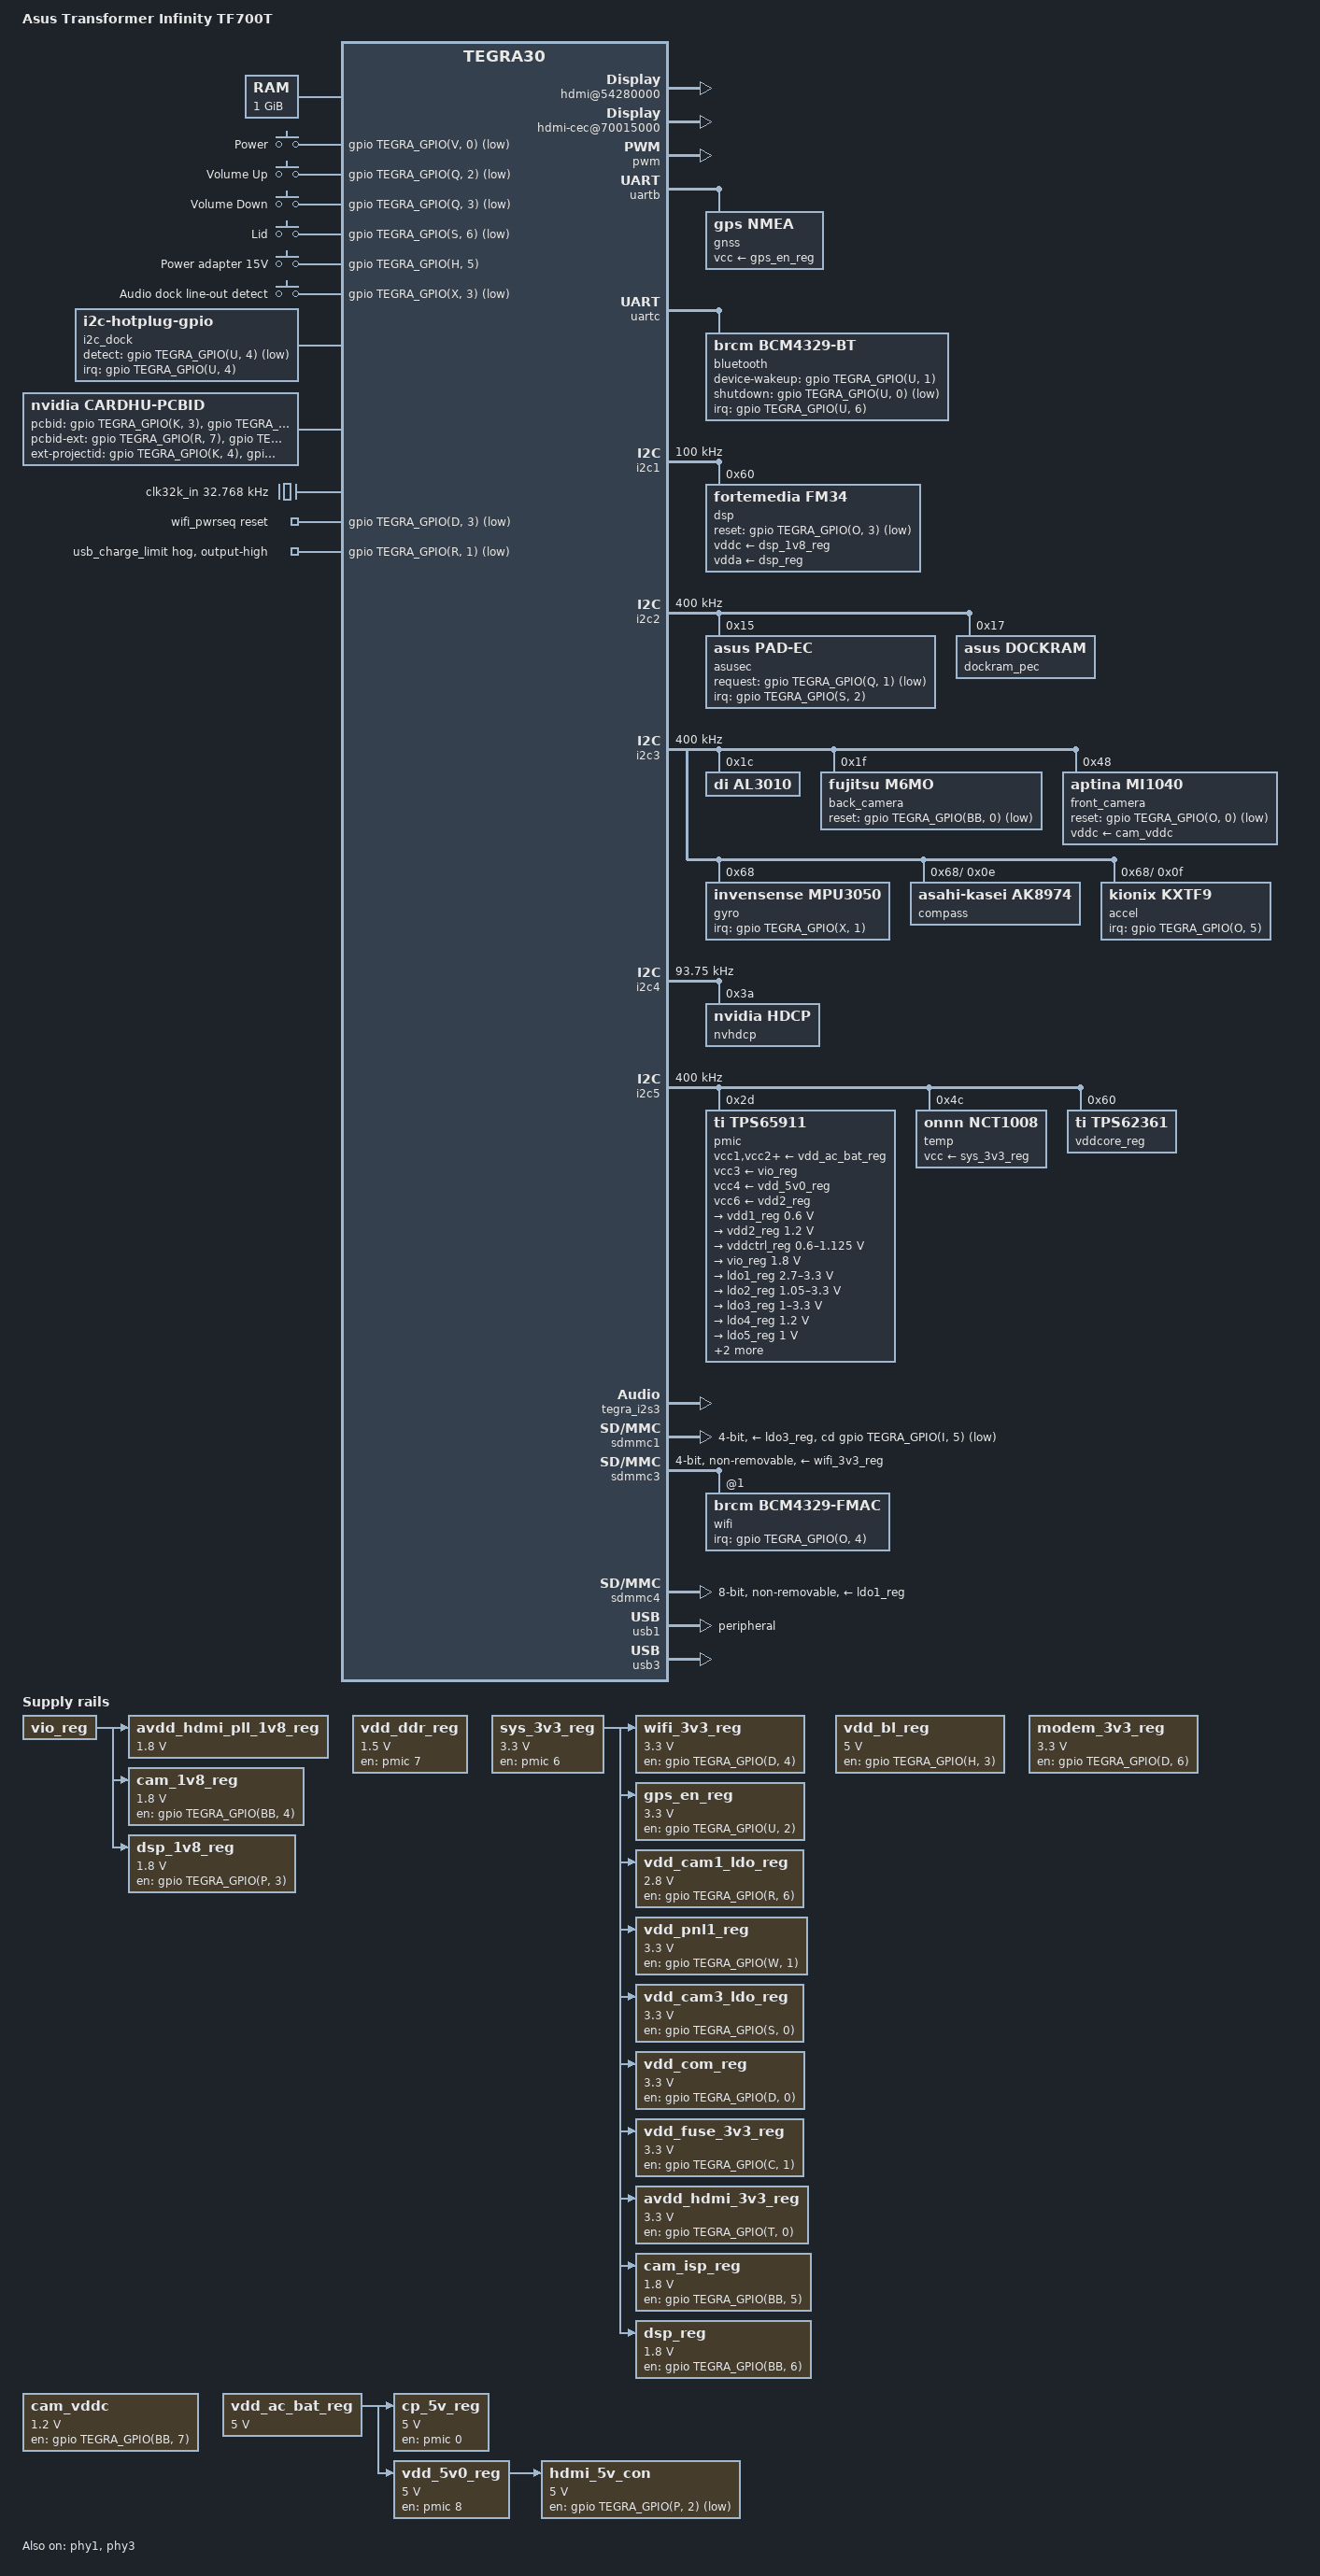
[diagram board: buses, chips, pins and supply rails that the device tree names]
/dts-v1/;

#include <dt-bindings/input/input.h>
#include <dt-bindings/thermal/thermal.h>
#include "tegra30.dtsi"
#include "tegra30-cpu-opp.dtsi"
#include "tegra30-cpu-opp-microvolt.dtsi"

/ {
	model = "Asus Transformer Infinity TF700T";
	compatible = "asus,tf700t", "nvidia,tegra30";

	aliases {
		rtc0 = &pmic;
		rtc1 = "/rtc@7000e000";
		//display0 = &lcd;
		display1 = &hdmi;
		serial0 = &uartd; /* reserved: console */
		serial1 = &uartc;
		serial2 = &uartb;
		mmc0 = &sdmmc4;	/* eMMC */
		mmc1 = &sdmmc1; /* uSD slot */
		mmc2 = &sdmmc3; /* WiFi */
	};

	chosen {
		#address-cells = <1>;
		#size-cells = <1>;
		ranges;

		bootargs = "tegra_wdt.heartbeat=30 androidboot.selinux=permissive androidboot.hardware=cardhu tegraid=30.1.3.0.0 commchip_id=0 androidboot.serialno=015d15b4da27f206 androidboot.commchip_id=0 no_console_suspend=1 usbcore.old_scheme_first=1 core_edp_mv=0 audio_codec=wm8903 board_info=245:0:1c:a7:29 tegraboot=sdmmc gpt gpt_sector=62078975 modem_id=0 android.kerneltype=normal androidboot.productid=0x02 androidboot.carrier=wifi-only";
		stdout-path = "display0";

		/*framebuffer@abc01000 {
			compatible = "simple-framebuffer";
			reg = <0xabc01000 0x3e8a00>;
			width = <1920>;
			height = <1200>;
			stride = <2560>;
			format = "r5g6b5";
			display = <&lcd>;
			clocks = <&tegra_car TEGRA30_CLK_DISP1>,
				 <&tegra_car TEGRA30_CLK_PWM>;
			panel-supply = <&vdd_pnl1_reg>;
			backlight-supply = <&vdd_bl_reg>;
		};*/
	};

	memory@80000000 {
		reg = <0x80000000 0x40000000>;
	};

	firmware {
		trusted-foundations {
			compatible = "tlm,trusted-foundations";
			tlm,version-major = <2>;
			tlm,version-minor = <8>;
		};
	};

	reserved-memory {
		#address-cells = <1>;
		#size-cells = <1>;
		ranges;

		firmware@bfe00000 {
			// used by TF firmware
			reg = <0xbfe00000 0x200000>;
			no-map;
		};

		ramoops@beb00000 {
			compatible = "ramoops";
			reg = <0xbeb00000 0x100000>;
			record-size = <0x00020000>;
			console-size = <0x00040000>;
			ftrace-size = <0x00040000>;
			ecc-size = <16>;
		};

		lp0_vec@bddf9000 {
			reg = <0xbddf9000 0x2000>;	// passed from bootloader (ATAGS/NVIDIA, cmdline)
		};
/*
		reserved@bddf6000 {
			reg = <0xbddf6000 0x2000>;	// passed from bootloader (ATAGS/NVIDIA)
		};
*/
		framebuffer@abc01000 {
			reg = <0xabc01000 0x3e9000>;
			no-map;
		};
	};

	power-domain-core {
		power-supply = <&vddcore_reg>;
	};

	cpus {
		cpu0: cpu@0 {
			cpu-supply = <&vddctrl_reg>;
			operating-points-v2 = <&cpu0_opp_table>;
			#cooling-cells = <2>;
		};
		cpu1: cpu@1 {
			cpu-supply = <&vddctrl_reg>;
			operating-points-v2 = <&cpu0_opp_table>;
			#cooling-cells = <2>;
		};
		cpu2: cpu@2 {
			cpu-supply = <&vddctrl_reg>;
			operating-points-v2 = <&cpu0_opp_table>;
			#cooling-cells = <2>;
		};
		cpu3: cpu@3 {
			cpu-supply = <&vddctrl_reg>;
			operating-points-v2 = <&cpu0_opp_table>;
			#cooling-cells = <2>;
		};
	};

	thermal-zones {
		local {
			polling-delay-passive = <1000>; /* milliseconds */
			polling-delay = <5000>; /* milliseconds */

			thermal-sensors = <&temp 0>;

			trips {
				trip0: cpu-alert0 {
					/* start throttling at 57C */
					temperature = <57000>;
					hysteresis = <200>;
					type = "passive";
				};

				trip1: cpu-crit {
					/* shut down at 60C */
					temperature = <60000>;
					hysteresis = <2000>;
					type = "critical";
				};
			};

			cooling-maps {
				map0 {
					trip = <&trip0>;
					cooling-device = <&cpu0 THERMAL_NO_LIMIT THERMAL_NO_LIMIT>,
							 <&cpu1 THERMAL_NO_LIMIT THERMAL_NO_LIMIT>,
							 <&cpu2 THERMAL_NO_LIMIT THERMAL_NO_LIMIT>,
							 <&cpu3 THERMAL_NO_LIMIT THERMAL_NO_LIMIT>;
				};
			};
		};
	};

	/*panel: panel {
		compatible = "innolux,n101icg-l21", "innolux,g101ice-l01", "simple-panel";

		power-supply = <&vdd_pnl1_reg>;
		enable-gpios = <&gpio TEGRA_GPIO(N, 6) GPIO_ACTIVE_HIGH>;

		backlight = <&backlight>;
	};

	backlight: backlight {
		compatible = "pwm-backlight";

		enable-gpios = <&gpio TEGRA_GPIO(H, 2) GPIO_ACTIVE_HIGH>;
		power-supply = <&vdd_bl_reg>;
		pwms = <&pwm 0 5000000>;

		brightness-levels = <2 4 8 16 32 64 128 255>;
		default-brightness-level = <6>;
	};

	sound {
		compatible = "asus,tf300t-audio",
			     "nvidia,tegra-audio-wm8903";
		nvidia,model = "ASUS TF300T";

		nvidia,audio-routing =
			"Headphone Jack", "HPOUTR",
			"Headphone Jack", "HPOUTL",
			"Int Spk", "ROP",
			"Int Spk", "RON",
			"Int Spk", "LOP",
			"Int Spk", "LON",
			"Mic Jack", "MICBIAS",
			"IN1L", "Mic Jack";

		nvidia,i2s-controller = <&tegra_i2s1>;
		nvidia,audio-codec = <&wm8903>;

		// speaker power: vdd_5v0_reg
		nvidia,spkr-en-gpios = <&wm8903 2 GPIO_ACTIVE_HIGH>;
		nvidia,hp-det-gpios = <&gpio TEGRA_GPIO(W, 2) GPIO_ACTIVE_LOW>;	// h2w_detect, in, hi

		clocks = <&tegra_car TEGRA30_CLK_PLL_A>,
			 <&tegra_car TEGRA30_CLK_PLL_A_OUT0>,
			 <&tegra_car TEGRA30_CLK_EXTERN1>;
		clock-names = "pll_a", "pll_a_out0", "mclk";
	};*/

	pad-buttons {
		compatible = "gpio-keys";
		interrupt-parent = <&gpio>;

		power {
			label = "Power";
			gpios = <&gpio TEGRA_GPIO(V, 0) GPIO_ACTIVE_LOW>;	// KEY_POWER, in, hi
			interrupts = <TEGRA_GPIO(V, 0) IRQ_TYPE_EDGE_BOTH>;
			linux,code = <KEY_POWER>;
			debounce-interval = <10>;
			wakeup-source;
		};

		volume-up {
			label = "Volume Up";
			gpios = <&gpio TEGRA_GPIO(Q, 2) GPIO_ACTIVE_LOW>;	// KEY_VOLUMEUP, in, hi
			interrupts = <TEGRA_GPIO(Q, 2) IRQ_TYPE_EDGE_BOTH>;
			linux,code = <KEY_VOLUMEUP>;
			debounce-interval = <10>;
			wakeup-source;
		};

		volume-down {
			label = "Volume Down";
			gpios = <&gpio TEGRA_GPIO(Q, 3) GPIO_ACTIVE_LOW>;	// KEY_VOLUMEDOWN, in, hi
			interrupts = <TEGRA_GPIO(Q, 3) IRQ_TYPE_EDGE_BOTH>;
			linux,code = <KEY_VOLUMEDOWN>;
			debounce-interval = <10>;
			wakeup-source;
		};
	};

	extcon-keys {
		compatible = "gpio-keys";
		interrupt-parent = <&gpio>;

		dock-hall-sensor {
			label = "Lid";
			gpios = <&gpio TEGRA_GPIO(S, 6) GPIO_ACTIVE_LOW>;	// asusdec_hall_sensor, in, hi [open]
			interrupts = <TEGRA_GPIO(S, 6) IRQ_TYPE_EDGE_BOTH>;
			linux,input-type = <EV_SW>;
			linux,code = <SW_LID>;
			debounce-interval = <10>;
			wakeup-source;
		};

		ac-15v {
			label = "Power adapter 15V";
			gpios = <&gpio TEGRA_GPIO(H, 5) GPIO_ACTIVE_HIGH>;	// LIMIT_SET1, in, lo [usb: pc]
			interrupts = <TEGRA_GPIO(H, 5) IRQ_TYPE_EDGE_BOTH>;
			linux,input-type = <EV_SW>;
			linux,code = <SW_DOCK>;
			debounce-interval = <10>;
			wakeup-source;
		};

		lineout-detect {
			label = "Audio dock line-out detect";
			gpios = <&gpio TEGRA_GPIO(X, 3) GPIO_ACTIVE_LOW>;	// lineout_int, in, hi
			interrupts = <TEGRA_GPIO(X, 3) IRQ_TYPE_EDGE_BOTH>;
			linux,input-type = <EV_SW>;
			linux,code = <SW_LINEOUT_INSERT>;
			debounce-interval = <10>;
			wakeup-source;
		};
	};

	i2c_dock: dock-i2c {
		compatible = "i2c-hotplug-gpio";
		#address-cells = <1>;
		#size-cells = <0>;
		interrupts-extended = <&gpio TEGRA_GPIO(U, 4) IRQ_TYPE_EDGE_BOTH>;
		detect-gpios = <&gpio TEGRA_GPIO(U, 4) GPIO_ACTIVE_LOW>;		// asusdec_dock_in, in, lo [in-dock]
		i2c-parent = <&i2c2>;
	};

        cardhu-pcbid {
		compatible = "nvidia,cardhu-pcbid";
		pcbid-gpios =
			<&gpio TEGRA_GPIO(K, 3) GPIO_ACTIVE_HIGH>,
			<&gpio TEGRA_GPIO(J, 2) GPIO_ACTIVE_HIGH>,
			<&gpio TEGRA_GPIO(J, 0) GPIO_ACTIVE_HIGH>,
			<&gpio TEGRA_GPIO(Q, 5) GPIO_ACTIVE_HIGH>,
			<&gpio TEGRA_GPIO(R, 2) GPIO_ACTIVE_HIGH>,
			<&gpio TEGRA_GPIO(Q, 7) GPIO_ACTIVE_HIGH>,
			<&gpio TEGRA_GPIO(Q, 4) GPIO_ACTIVE_HIGH>,
			<&gpio TEGRA_GPIO(R, 5) GPIO_ACTIVE_HIGH>,
			<&gpio TEGRA_GPIO(R, 4) GPIO_ACTIVE_HIGH>;
		pcbid-ext-gpios = // used only if pcbid[5:3] == 6
			<&gpio TEGRA_GPIO(R, 7) GPIO_ACTIVE_HIGH>,
			<&gpio TEGRA_GPIO(B, 0) GPIO_ACTIVE_HIGH>,
			<&gpio TEGRA_GPIO(J, 7) GPIO_ACTIVE_HIGH>,
			<&gpio TEGRA_GPIO(C, 7) GPIO_ACTIVE_HIGH>;
		ext-projectid-gpios = // used only if pcbid[5:3] == 6
			<&gpio TEGRA_GPIO(K, 4) GPIO_ACTIVE_HIGH>,
			<&gpio TEGRA_GPIO(I, 7) GPIO_ACTIVE_HIGH>,
			<&gpio TEGRA_GPIO(I, 3) GPIO_ACTIVE_HIGH>,
			<&gpio TEGRA_GPIO(K, 2) GPIO_ACTIVE_HIGH>;
	};

	clocks {
		compatible = "simple-bus";
		#address-cells = <1>;
		#size-cells = <0>;

		clk32k_in: clock@0 {
			compatible = "fixed-clock";
			reg = <0>;
			#clock-cells = <0>;
			clock-frequency = <32768>;
		};

		// TODO: clk_out2 <- clk_m [26 MHz]
	};

	host1x@50000000 {
		/*lcd: dc@54200000 {
			rgb {
				status = "okay";
				nvidia,panel = <&panel>;
			};
		};*/

		hdmi: dc@54240000 {
		};

		hdmi@54280000 {
			status = "okay";
			hdmi-supply = <&hdmi_5v_con>;
			pll-supply = <&avdd_hdmi_pll_1v8_reg>;
			vdd-supply = <&avdd_hdmi_3v3_reg>;

			nvidia,hpd-gpio = <&gpio TEGRA_GPIO(N, 7) GPIO_ACTIVE_HIGH>;	// hdmi_hpd, in, lo
			nvidia,ddc-i2c-bus = <&hdmi_ddc>;
		};
	};

	pmc@7000e400 {
		status = "okay";
		nvidia,invert-interrupt;
		nvidia,suspend-mode = <0>;
		nvidia,cpu-pwr-good-time = <2000>;
		nvidia,cpu-pwr-off-time = <200>;
		nvidia,core-pwr-good-time = <3845 3845>;
		nvidia,core-pwr-off-time = <0>;
		nvidia,core-power-req-active-high;
		nvidia,sys-clock-req-active-high;
		nvidia,lp0-vec = <0xbddf9000 0x2000>;	// passed by bootloader

		i2c-thermtrip {
			nvidia,i2c-controller-id = <4>;	// i2c5
			nvidia,bus-addr = <0x2d>;	// tps65911
			nvidia,reg-addr = <0x3f>;	// DEVCTRL
			nvidia,reg-data = <0x81>;	// PWR_OFF_SET + DEV_OFF
		};
	};

	hdmi-cec@70015000 {
		status = "okay";
	};

	hda@70030000 {
		status = "okay";
	};

	regulators {
		compatible = "simple-bus";
		#address-cells = <1>;
		#size-cells = <0>;

		cp_5v_reg: regulator@0 {	// -> vdd_5v0_sby, vdd_hall, vterm_ddr, v2ref_ddr
			compatible = "regulator-fixed";
			reg = <0>;
			regulator-name = "cp_5v";
			regulator-min-microvolt = <5000000>;
			regulator-max-microvolt = <5000000>;
			regulator-always-on;
			regulator-boot-on;
			enable-active-high;
			gpio = <&pmic 0 GPIO_ACTIVE_HIGH>;
			vin-supply = <&vdd_ac_bat_reg>;
		};

		vdd_5v0_reg: regulator@1 {	// -> vdd_5v0_sys
			compatible = "regulator-fixed";
			reg = <1>;
			regulator-name = "5v0";
			regulator-min-microvolt = <5000000>;
			regulator-max-microvolt = <5000000>;
			regulator-always-on;
			regulator-boot-on;
			enable-active-high;
			gpio = <&pmic 8 GPIO_ACTIVE_HIGH>;	// Cardhu-A04+; PM269
			vin-supply = <&vdd_ac_bat_reg>;
		};

		wifi_3v3_reg: regulator@21 {
			compatible = "regulator-fixed";
			reg = <21>;
			regulator-name = "wifi_3v3";
			regulator-min-microvolt = <3300000>;
			regulator-max-microvolt = <3300000>;
			enable-active-high;
			gpio = <&gpio TEGRA_GPIO(D, 4) GPIO_ACTIVE_HIGH>;	// wlan_power, out, lo [wifi-off]
			vin-supply = <&sys_3v3_reg>;
		};

		gps_en_reg: regulator@23 {
			compatible = "regulator-fixed";
			reg = <23>;
			regulator-name = "gps_en";
			regulator-min-microvolt = <3300000>;
			regulator-max-microvolt = <3300000>;
			enable-active-high;
			gpio = <&gpio TEGRA_GPIO(U, 2) GPIO_ACTIVE_HIGH>;	// gpsconfig.xml: gpioNStdby
			vin-supply = <&sys_3v3_reg>;
		};

		vdd_cam1_ldo_reg: regulator@18 {
			compatible = "regulator-fixed";
			reg = <18>;
			regulator-name = "vdd_cam1_ldo";
			regulator-min-microvolt = <2800000>;
			regulator-max-microvolt = <2800000>;
			enable-active-high;
			gpio = <&gpio TEGRA_GPIO(R, 6) GPIO_ACTIVE_HIGH>;	// fixed_reg_cam1_ldo_e, out, lo
			vin-supply = <&sys_3v3_reg>;
		};

		vdd_ddr_reg: regulator@2 {
			compatible = "regulator-fixed";
			reg = <2>;
			regulator-name = "vdd_ddr";
			regulator-min-microvolt = <1500000>;
			regulator-max-microvolt = <1500000>;
			regulator-always-on;
			regulator-boot-on;
			enable-active-high;
			gpio = <&pmic 7 GPIO_ACTIVE_HIGH>;	// Cardhu-A04+, PM269
			// vin-supply = null?
		};

		sys_3v3_reg: regulator@3 {	// -> mem_vddio_ddr, t30_vddio_ddr
			compatible = "regulator-fixed";
			reg = <3>;
			regulator-name = "sys_3v3";
			regulator-min-microvolt = <3300000>;
			regulator-max-microvolt = <3300000>;
			regulator-always-on;
			regulator-boot-on;
			enable-active-high;
			gpio = <&pmic 6 GPIO_ACTIVE_HIGH>;	// Cardhu-A04+, PM269
		};

		vdd_bl_reg: regulator@4 {
			compatible = "regulator-fixed";
			reg = <4>;
			regulator-name = "vdd_bl";
			regulator-min-microvolt = <5000000>;
			regulator-max-microvolt = <5000000>;
			regulator-boot-on;
			enable-active-high;
				// OD? o=1 i=0 ?
			gpio = <&gpio TEGRA_GPIO(H, 3) GPIO_ACTIVE_HIGH>;	// fixed_reg_en_vdd_bl, PM269
//			vin-supply = <&vdd_5v0_reg>; // =null?
		};

		modem_3v3_reg: regulator@5 {
			compatible = "regulator-fixed";
			reg = <5>;
			regulator-name = "modem_3v3";
			regulator-min-microvolt = <3300000>;
			regulator-max-microvolt = <3300000>;
			enable-active-high;
			gpio = <&gpio TEGRA_GPIO(D, 6) GPIO_ACTIVE_HIGH>;
//			vin-supply = <&sys_3v3_reg>; // = null?
		};

		vdd_pnl1_reg: regulator@6 {
			compatible = "regulator-fixed";
			reg = <6>;
			regulator-name = "vdd_pnl1";
			regulator-min-microvolt = <3300000>;
			regulator-max-microvolt = <3300000>;
			regulator-boot-on;
			enable-active-high;
			gpio = <&gpio TEGRA_GPIO(W, 1) GPIO_ACTIVE_HIGH>;	// fixed_reg_en_vdd_pnl, out, hi; PM269
			vin-supply = <&sys_3v3_reg>;
		};

		vdd_cam3_ldo_reg: regulator@7 {
			compatible = "regulator-fixed";
			reg = <7>;
			regulator-name = "vdd_cam3_ldo";
			regulator-min-microvolt = <3300000>;
			regulator-max-microvolt = <3300000>;
			enable-active-high;
			gpio = <&gpio TEGRA_GPIO(S, 0) GPIO_ACTIVE_HIGH>;	// fixed_reg_cam3_ldo_e, out, lo
			vin-supply = <&sys_3v3_reg>;
		};

		vdd_com_reg: regulator@8 {
			compatible = "regulator-fixed";
			reg = <8>;
			regulator-name = "vdd_com";
			regulator-min-microvolt = <3300000>;
			regulator-max-microvolt = <3300000>;
			enable-active-high;
			gpio = <&gpio TEGRA_GPIO(D, 0) GPIO_ACTIVE_HIGH>;
			vin-supply = <&sys_3v3_reg>;
		};

		vdd_fuse_3v3_reg: regulator@9 {
			compatible = "regulator-fixed";
			reg = <9>;
			regulator-name = "vdd_fuse_3v3";
			regulator-min-microvolt = <3300000>;
			regulator-max-microvolt = <3300000>;
			enable-active-high;
			gpio = <&gpio TEGRA_GPIO(C, 1) GPIO_ACTIVE_HIGH>;	// PM269
			vin-supply = <&sys_3v3_reg>;
		};

		cam_vddc: regulator@100 {
			compatible = "regulator-fixed";
			reg = <100>;
			regulator-name = "icatch7002a_vddc";
			regulator-min-microvolt = <1200000>;
			regulator-max-microvolt = <1200000>;
			enable-active-high;
			gpio = <&gpio TEGRA_GPIO(BB, 7) GPIO_ACTIVE_HIGH>;	// cam_vddc_ldo_en, out, lo
			// vin-supply = vdd2?
		};

		hdmi_5v_con: regulator@101 {
			compatible = "regulator-fixed";
			reg = <101>;
			regulator-name = "hdmi_con_5v";
			regulator-min-microvolt = <5000000>;
			regulator-max-microvolt = <5000000>;
			gpio = <&gpio TEGRA_GPIO(P, 2) GPIO_ACTIVE_HIGH>;	// hdmi_5v_en, out, hi
			vin-supply = <&vdd_5v0_reg>;
		};

		avdd_hdmi_pll_1v8_reg: regulator@102 {
			compatible = "regulator-fixed";
			reg = <102>;
			regulator-name = "avdd_hdmi_pll";
			regulator-min-microvolt = <1800000>;
			regulator-max-microvolt = <1800000>;
			// gpio = ?
			vin-supply = <&vio_reg>;
		};

		avdd_hdmi_3v3_reg: regulator@103 {
			compatible = "regulator-fixed";
			reg = <103>;
			regulator-name = "avdd_hdmi";
			regulator-min-microvolt = <3300000>;
			regulator-max-microvolt = <3300000>;
			enable-active-high;
			gpio = <&gpio TEGRA_GPIO(T, 0) GPIO_ACTIVE_HIGH>;
			vin-supply = <&sys_3v3_reg>;
		};

		cam_1v8_reg: regulator@104 {
			compatible = "regulator-fixed";
			reg = <104>;
			regulator-name = "cam_1v8";
			regulator-min-microvolt = <1800000>;
			regulator-max-microvolt = <1800000>;
			enable-active-high;
			gpio = <&gpio TEGRA_GPIO(BB, 4) GPIO_ACTIVE_HIGH>;	// cam_vddio_ldo_en, out, lo
			vin-supply = <&vio_reg>;
		};

		vdd_ac_bat_reg: regulator@107 {
			compatible = "regulator-fixed";
			reg = <107>;
			regulator-name = "vdd_ac_bat";
			regulator-min-microvolt = <5000000>;
			regulator-max-microvolt = <5000000>;
			regulator-boot-on;
			regulator-always-on;
		};

		dsp_1v8_reg: regulator@108 {
			compatible = "regulator-fixed";
			reg = <108>;
			regulator-name = "dsp_1v8";
			regulator-min-microvolt = <1800000>;
			regulator-max-microvolt = <1800000>;
			enable-active-high;
			gpio = <&gpio TEGRA_GPIO(P, 3) GPIO_ACTIVE_HIGH>;	// dsp_power_1v8_en, out, hi
			vin-supply = <&vio_reg>;
		};

		cam_isp_reg: regulator@109 {
			compatible = "regulator-fixed";
			reg = <109>;
			regulator-name = "isp_power";
			regulator-min-microvolt = <1800000>;
			regulator-max-microvolt = <1800000>;
			enable-active-high;
			gpio = <&gpio TEGRA_GPIO(BB, 5) GPIO_ACTIVE_HIGH>;	// cam_power_dwn, out, lo
			vin-supply = <&sys_3v3_reg>;
		};

		dsp_reg: regulator@110 {
			compatible = "regulator-fixed";
			reg = <110>;
			regulator-name = "dsp_power";
			regulator-min-microvolt = <1800000>;
			regulator-max-microvolt = <1800000>;
			enable-active-high;
			gpio = <&gpio TEGRA_GPIO(BB, 6) GPIO_ACTIVE_HIGH>;	// fm34_pwdn, out, lo
			vin-supply = <&sys_3v3_reg>;
		};
	};
};

&pinmux {
	pinctrl-names = "default";
	pinctrl-0 = <&pinmux_default_state>;

	pinmux_default_state: pinmux {
	};
};

&pwm {
	status = "okay";
};

&uartb {
	compatible = "nvidia,tegra30-hsuart", "nvidia,tegra20-hsuart";
	status = "okay";

	gnss {
		compatible = "gps,nmea";
		vcc-supply = <&gps_en_reg>;
	};
};

&uartc {
	compatible = "nvidia,tegra30-hsuart", "nvidia,tegra20-hsuart";
	status = "okay";

	bluetooth {
		compatible = "brcm,bcm4329-bt";
		interrupts-extended = <&gpio TEGRA_GPIO(U, 6) IRQ_TYPE_LEVEL_LOW>;	// bt_host_wake, in, lo	[UART_WAKE?]
		device-wakeup-gpios = <&gpio TEGRA_GPIO(U, 1) GPIO_ACTIVE_HIGH>;	// bt_ext_wake, out, lo	[BT_WAKE?]
		shutdown-gpios = <&gpio TEGRA_GPIO(U, 0) GPIO_ACTIVE_LOW>;		// bcm4329_nshutdown_gp, out, lo [bt-off]
//		reset-gpios = <&gpio TEGRA_GPIO(U, 0) GPIO_ACTIVE_HIGH>;		// [BT_RST_N]
	};
};

&gpio {
	// gpios = <&gpio TEGRA_GPIO(G, 4) GPIO_ACTIVE_HIGH>;	// memory_bootstrap_ad4, in, hi
	// gpios = <&gpio TEGRA_GPIO(G, 5) GPIO_ACTIVE_LOW>;	// memory_bootstrap_ad5, in, lo
		//    0 0 = TF300T_Elpida_1GB_667MHZ
		// ** 1 0 = TF300T_Hynix_1GB_667MHZ
		//    0 1 = TF300T_Micron_1GB_667MHZ

	usb_charge_limit {
		gpio-hog;
		gpios = <TEGRA_GPIO(R, 1) GPIO_ACTIVE_LOW>;	// LIMIT_SET0, out, lo; @tegra_udc.LIMIT_PWR [0 = 0.5A, 1 = 1A]
//		output-low;
		output-high;
	};
};

&i2c1 {
	status = "okay";
	clock-frequency = <100000>;

	dsp@60 {
		compatible = "fortemedia,fm34";
		reg = <0x60>;
		vddc-supply = <&dsp_1v8_reg>;
		vdda-supply = <&dsp_reg>;		// fm34_pwdn
		reset-gpios = <&gpio TEGRA_GPIO(O, 3) GPIO_ACTIVE_LOW>;		// fm34_reset, out, hi
	};
};

&i2c2 {
	status = "okay";
	clock-frequency = <400000>;

	// resp@0, @8

	/*touchscreen@10 {
		compatible = "elan,ektf3624", "elan,ekth3500";	// HV: ekth1036
		reg = <0x10>;
		interrupt-parent = <&gpio>;
		interrupts = <TEGRA_GPIO(H, 4) IRQ_TYPE_EDGE_FALLING>;	// touch_irq, in, hi
		reset-gpios = <&gpio TEGRA_GPIO(H, 6) GPIO_ACTIVE_LOW>;	// touch_reset, out, hi
		wakeup-source;
		touchscreen-size-x = <2240>;
		touchscreen-size-y = <1408>;
		touchscreen-x-mm = <210>;
		touchscreen-y-mm = <132>;
		touchscreen-inverted-y;
	};*/

	asusec@15 {
		compatible = "asus,pad-ec", "asus,ec";
		reg = <0x15>;
		interrupt-parent = <&gpio>;
		interrupts = <TEGRA_GPIO(S, 2) IRQ_TYPE_LEVEL_LOW>;		// asuspec_apwake, in, hi
		request-gpio = <&gpio TEGRA_GPIO(Q, 1) GPIO_ACTIVE_LOW>;	// asuspec_request, out, hi
		asus,dockram = <&dockram_pec>;

		pad_battery: battery {
//			power-supplies = <&dock_battery>;
			charge-full-design = <2940>;	/* mAh */
			non-removable;
		};
	};

	dockram_pec: dockram@17 {
		compatible = "asus,dockram";
		reg = <0x17>;
	};
};

&i2c_dock {
	asusec@19 {
		compatible = "asus,dock-ec", "asus,ec";
		reg = <0x19>;
		interrupt-parent = <&gpio>;
		interrupts = <TEGRA_GPIO(S, 7) IRQ_TYPE_LEVEL_LOW>;		// asusdec_input, in, hi
		request-gpio = <&gpio TEGRA_GPIO(Q, 6) GPIO_ACTIVE_LOW>;	// asusdec_request, out, hi
		asus,dockram = <&dockram_dec>;

		dock_battery: battery {
			charge-full-design = <2260>;	/* mAh */
		};
	};

	dockram_dec: dockram@1b {
		compatible = "asus,dockram";
		reg = <0x1b>;
	};
};

&i2c3 {
	status = "okay";
	clock-frequency = <400000>;

	al3010@1c {
		compatible = "di,al3010";
		reg = <0x1c>;
	};

	back_camera: camera@1f {
		compatible = "fujitsu,m6mo";
		reg = <0x1f>;

		reset-gpios = <&gpio TEGRA_GPIO(BB, 0) GPIO_ACTIVE_LOW>; // cam_sensor_rst_lo, out, lo
	};

	front_camera: camera@48 {
		compatible = "aptina,mi1040", "onsemi,mt9d115";
		reg = <0x48>;

		clocks = <>; //<&tegra_car TEGRA30_CLK_PLL_A>; CAM_MCLK
		clock-names = "extclk";

		vddio-suppy = <&cam_1v8_reg>;
		vdda-suppy = <&vdd_cam3_ldo_reg>;	// 2.85V?
		vddc-supply = <&cam_vddc>;		// PWR_DN

		reset-gpios = <&gpio TEGRA_GPIO(O, 0) GPIO_ACTIVE_LOW>;
	};

	/*camera: isp@3c {
		compatible = "icatch,spca7002a";
		reg = <0x3c>;

		// pinmux - CAM_MCLK
		sensors = <&back_camera &front_camera>;
		sensor-names = "back", "front";

		vddio-supply = <&cam_1v8_reg>;
		vddc-supply = <&cam_vddc>;
		vdda-supply = <&vdd_cam1_ldo_reg>;
		af-supply = <&vdd_cam3_ldo_reg>;	// 2v85? [@ GPIO_PR7 -> modem_en (usb_hsic)?]
		power-supply = <&cam_isp_reg>;		// cam_power_dwn

		reset-gpios = <&gpio TEGRA_GPIO(BB, 0) GPIO_ACTIVE_LOW>;	// == cam_rst?
	};*/

	gyro@68 {
		compatible = "invensense,mpu3050";
		reg = <0x68>;
		interrupt-parent = <&gpio>;
		interrupts = <TEGRA_GPIO(X, 1) IRQ_TYPE_EDGE_RISING>;	// mpu3050, in, lo
		mount-matrix = "-1", "0", "0", "0", "1", "0", "0", "0", "-1";
		accel-slave = <&accel>;
		compass-slave = <&compass>;

		i2c-gate {
			#address-cells = <1>;
			#size-cells = <0>;

			compass: compass@e {
				compatible = "asahi-kasei,ak8974";
				reg = <0x0e>;
				mount-matrix = "0", "-1", "0", "-1", "0", "0", "0", "0", "-1";
			};

			accel: accel@f {
				compatible = "kionix,kxtf9";
				reg = <0x0f>;
				interrupt-parent = <&gpio>;
				interrupts = <TEGRA_GPIO(O, 5) IRQ_TYPE_EDGE_RISING>;	// kxtf9, in, lo
				mount-matrix = "0", "1", "0", "1", "0", "0", "0", "0", "-1";
			};
		};
	};
};

hdmi_ddc: &i2c4 {
	status = "okay";
	clock-frequency = <93750>;

	nvhdcp@3a {
		compatible = "nvidia,hdcp";
		reg = <0x3a>;
	};
};

/*
		interrupt-parent = <&gpio>;
		interrupts = <TEGRA_GPIO(S, 5) IRQ_TYPE_EDGE_BOTH>,	// dock_charging, in, lo
			     <TEGRA_GPIO(S, 4) IRQ_TYPE_EDGE_BOTH>;	// low_battery_detect, in, lo
			     <TEGRA_GPIO(N, 4) IRQ_TYPE_EDGE_BOTH>;	// battery_detect, in, lo
		interrupt-names = "dock-charging", "low", "detect";
*/
&i2c5 {
	status = "okay";
	clock-frequency = <400000>;

	/delete-property/ interrupts;
	interrupts-extended = <&lic GIC_SPI 53 IRQ_TYPE_LEVEL_HIGH>,
			      <&gpio TEGRA_GPIO(CC, 2) IRQ_TYPE_EDGE_FALLING>;	// temp_alert, in, hi	[LEVEL_LOW]
	interrupt-names = "irq", "smbus_alert";

	/*wm8903: wm8903@1a {
		compatible = "wlf,wm8903";
		reg = <0x1a>;
		interrupt-parent = <&gpio>;
		interrupts = <TEGRA_GPIO(W, 3) IRQ_TYPE_LEVEL_LOW>;	// wm8903, in, lo

		gpio-controller;
		#gpio-cells = <2>;

		micdet-cfg = <0>;
		micdet-delay = <100>;
		gpio-cfg = <0xffffffff 0xffffffff 0 0xffffffff 0xffffffff>;
	};*/

	pmic: tps65911@2d {
		compatible = "ti,tps65911";
		reg = <0x2d>;

		interrupts = <GIC_SPI 86 IRQ_TYPE_LEVEL_HIGH>;
		#interrupt-cells = <2>;
		interrupt-controller;

		ti,system-power-controller;
		ti,sleep-enable;
		ti,sleep-keep-ck32k;
		ti,en-gpio-sleep = <0 0 1 0 0 0 0 0 0>;
		wakeup-source;

		#gpio-cells = <2>;
		gpio-controller;

		vcc1-supply = <&vdd_ac_bat_reg>;	// vdd1
		vcc2-supply = <&vdd_ac_bat_reg>;	// vdd2
		vcc3-supply = <&vio_reg>;		// ldo6, ldo7, ldo8
		vcc4-supply = <&vdd_5v0_reg>;		// ldo5
		vcc5-supply = <&vdd_ac_bat_reg>;	// ldo3, ldo4
		vcc6-supply = <&vdd2_reg>;		// ldo1, ldo2
		vcc7-supply = <&vdd_ac_bat_reg>;	// vrtc
		vccio-supply = <&vdd_ac_bat_reg>;	// vio

		sleep_out {
			gpio-hog;
			gpios = <2 GPIO_ACTIVE_HIGH>;
			output-high;
		};

		regulators {
			vdd1_reg: vdd1 {	// -> en_vddio_ddr_1v2
//					regulator-name = "vddio_ddr";
				regulator-min-microvolt = <600000>;
				regulator-max-microvolt = <600000>;
				regulator-always-on;
				ti,regulator-ext-sleep-control = <8>;	// EXT_CTRL_SLEEP_OFF?
			};

			vdd2_reg: vdd2 {	// -> vdd_gen1v5, vcore_lcd, track_ldo1, external_ldo_1v2, vcore_cam1, vcore_cam2
//					regulator-name = "vdd_1v2_gen";		// [0.6-1.5V]
				regulator-min-microvolt = <1200000>;
				regulator-max-microvolt = <1200000>;
				regulator-always-on;
			};

			vddctrl_reg: vddctrl {	// -> vdd_cpu_pmu, vdd_cpu, vdd_sys
				regulator-name = "vdd_cpu";		// vdd_cpu [0.6-1.4V; =0.9 =0.8]
				regulator-min-microvolt = <600000>;
				regulator-max-microvolt = <1125000>;
				regulator-coupled-with = <&vddcore_reg>;
				regulator-coupled-max-spread = <300000>;
				regulator-max-step-microvolt = <100000>;
				ti,regulator-ext-sleep-control = <1>;	// TPS65910_SLEEP_CONTROL_EXT_INPUT_EN1
				regulator-always-on;	// test
				nvidia,tegra-cpu-regulator;
			};

			vio_reg: vio {		// -> avdd, ... 1v8
//					regulator-name = "vdd_1v8_gen";
				regulator-min-microvolt = <1800000>;
				regulator-max-microvolt = <1800000>;
				regulator-always-on;
			};

			// eMMC VDD
			ldo1_reg: ldo1 {
				regulator-name = "vdd_emmc";
				regulator-min-microvolt = <2700000>;
				regulator-max-microvolt = <3300000>;
				regulator-always-on;
			};

			// uSD slot VDD
			ldo2_reg: ldo2 {
				regulator-name = "vdd_usd";
				regulator-min-microvolt = <1050000>;
				regulator-max-microvolt = <3300000>;
			};

			// uSD slot VDDIO
			ldo3_reg: ldo3 {	// -> +pwrdet_sdmmc1
				regulator-name = "vddio_usd";
				regulator-min-microvolt = <1000000>;
				regulator-max-microvolt = <3300000>;
			};

			ldo4_reg: ldo4 {
				regulator-name = "vdd_rtc";
				regulator-min-microvolt = <1200000>;
				regulator-max-microvolt = <1200000>;
				regulator-always-on;
			};

			ldo5_reg: ldo5 {	// -> avdd_vdac
//					regulator-name = "vddio_sdmmc,avdd_vdac";	// disabled?
				regulator-min-microvolt = <1000000>;
				regulator-max-microvolt = <1000000>;
			};

			ldo6_reg: ldo6 {	// -> avdd_dsi_csi, pwrdet_mipi, vddio_hsic
				regulator-name = "avdd_dsi_csi,pwrdet_mipi";	// TODO
				regulator-min-microvolt = <1200000>;
				regulator-max-microvolt = <1200000>;
			};

			ldo7_reg: ldo7 {	// -> avdd_pll*
//					regulator-name = "vdd_pllm,x,u,a_p_c_s";
				regulator-min-microvolt = <1200000>;
				regulator-max-microvolt = <1200000>;
				regulator-always-on;
				ti,regulator-ext-sleep-control = <8>;	// EXT_CTRL_SLEEP_OFF?, LDO_LOW_POWER_ON_SUSPEND
			};

			ldo8_reg: ldo8 {
				regulator-name = "vdd_ddr_hs";
				regulator-min-microvolt = <1000000>;
				regulator-max-microvolt = <1000000>;	// =3v3
				regulator-always-on;
				ti,regulator-ext-sleep-control = <8>;	// EXT_CTRL_SLEEP_OFF?, LDO_LOW_POWER_ON_SUSPEND
			};
		};
	};

	temp: temperature-sensor@4c {
		compatible = "onnn,nct1008";
		reg = <0x4c>;
		vcc-supply = <&sys_3v3_reg>;
		#thermal-sensor-cells = <1>;
	};

	vddcore_reg: tps62361@60 {
		compatible = "ti,tps62361";
		reg = <0x60>;

		regulator-name = "vdd_core";
		regulator-min-microvolt = <1000000>;	// =0v5
		regulator-max-microvolt = <1350000>;	// =1v77
		regulator-coupled-with = <&vddctrl_reg>;
		regulator-coupled-max-spread = <300000>;
		regulator-max-step-microvolt = <100000>;
		regulator-always-on;
		ti,enable-vout-discharge;
		ti,vsel0-state-high;
		ti,vsel1-state-high;
		nvidia,tegra-core-regulator;
	};
};

/* WM8903 */
/*&tegra_i2s1 {
	status = "okay";
};*/

/* BT SCO */
&tegra_i2s3 {
	status = "okay";
};

/* uSD slot on left side */
&sdmmc1 {
	status = "okay";
	cd-gpios = <&gpio TEGRA_GPIO(I, 5) GPIO_ACTIVE_LOW>;	// sdhci_cd, in, lo [card in]
	bus-width = <4>;
	vmmc-supply = <&ldo3_reg>;
	vqmmc-supply = <&ldo2_reg>;
};

&pinmux_default_state {
	sdmmc1_clk {
		nvidia,pins = "sdmmc1_clk_pz0";
		nvidia,function = "sdmmc1";
		nvidia,pull = <TEGRA_PIN_PULL_NONE>;
		nvidia,tristate = <TEGRA_PIN_DISABLE>;
		nvidia,enable-input = <TEGRA_PIN_ENABLE>;
	};
	sdmmc1_cmd {
		nvidia,pins =	"sdmmc1_cmd_pz1",
				"sdmmc1_dat0_py7",
				"sdmmc1_dat1_py6",
				"sdmmc1_dat2_py5",
				"sdmmc1_dat3_py4";
		nvidia,function = "sdmmc1";
		nvidia,pull = <TEGRA_PIN_PULL_UP>;
		nvidia,tristate = <TEGRA_PIN_DISABLE>;
		nvidia,enable-input = <TEGRA_PIN_ENABLE>;
	};
	sdmmc1_cd {
		nvidia,pins =	"gmi_iordy_pi5"	/* usd-card-detect */,
				"vi_d11_pt3"	/* sd-wp-gpio */;
		nvidia,pull = <TEGRA_PIN_PULL_UP>;
		nvidia,tristate = <TEGRA_PIN_ENABLE>;
		nvidia,enable-input = <TEGRA_PIN_ENABLE>;
	};
	sdmmc1_drive {
		nvidia,pins = "drive_sdio1";
		nvidia,high-speed-mode = <TEGRA_PIN_DISABLE>;
		nvidia,schmitt = <TEGRA_PIN_DISABLE>;
		nvidia,pull-down-strength = <42>;
		nvidia,pull-up-strength = <46>;
		nvidia,slew-rate-rising = <TEGRA_PIN_SLEW_RATE_FAST>;
		nvidia,slew-rate-falling = <TEGRA_PIN_SLEW_RATE_FAST>;
	};
};

/* internal SDIO WiFi */
&sdmmc3 {
	status = "okay";
	bus-width = <4>;
	mmc-pwrseq = <&wifi_pwrseq>;
	vmmc-supply = <&wifi_3v3_reg>;
	vqmmc-supply = <&vio_reg>;
	enable-sdio-wakeup;
	non-removable;
	no-sd;
	no-mmc;

	#address-cells = <1>;
	#size-cells = <0>;

	wifi: brcmf@1 {
		reg = <1>;
		compatible = "brcm,bcm4329-fmac";
		interrupt-parent = <&gpio>;
		interrupts = <TEGRA_GPIO(O, 4) IRQ_TYPE_LEVEL_HIGH>;	// bcmsdh_sdmmc, in, lo
		interrupt-names = "host-wake";
	};
};

/ {
	wifi_pwrseq: wifi-pwrseq {
		compatible = "mmc-pwrseq-simple";
		reset-gpios = <&gpio TEGRA_GPIO(D, 3) GPIO_ACTIVE_LOW>;	// wlan_rst, out, lo [wifi-off]
		post-power-on-delay-ms = <100>;
	};
};

&pinmux_default_state {
	/* WiFi */
	sdmmc3_clk_pa6 {
		nvidia,pins = "sdmmc3_clk_pa6";
		nvidia,function = "sdmmc3";
		nvidia,pull = <TEGRA_PIN_PULL_NONE>;
		nvidia,tristate = <TEGRA_PIN_DISABLE>;
	};
	sdmmc3_cmd_pa7 {
		nvidia,pins =	"sdmmc3_cmd_pa7",
				"sdmmc3_dat0_pb7",
				"sdmmc3_dat1_pb6",
				"sdmmc3_dat2_pb5",
				"sdmmc3_dat3_pb4",
				"sdmmc3_dat6_pd3",	// nRST
				"sdmmc3_dat7_pd4";	// nPWRDN
		nvidia,function = "sdmmc3";
		nvidia,pull = <TEGRA_PIN_PULL_UP>;
		nvidia,tristate = <TEGRA_PIN_DISABLE>;
	};
	sdmmc3_drive {
		nvidia,pins = "drive_sdio3";
		nvidia,high-speed-mode = <TEGRA_PIN_DISABLE>;
		nvidia,schmitt = <TEGRA_PIN_DISABLE>;
		nvidia,pull-down-strength = <46>;
		nvidia,pull-up-strength = <42>;
		nvidia,slew-rate-rising = <TEGRA_PIN_SLEW_RATE_FAST>;
		nvidia,slew-rate-falling = <TEGRA_PIN_SLEW_RATE_FAST>;
	};
};

/* internal eMMC */
&sdmmc4 {
	status = "okay";
	bus-width = <8>;
//	mmc-pwrseq = <&emmc_pwrseq>;
	vmmc-supply = <&ldo1_reg>;
	vqmmc-supply = <&vio_reg>;
	non-removable;
	no-sd;
	no-sdio;
	max-frequency = <16000000>;
	nvidia,default-tap = <0x0F>;
};

/ {
	emmc_pwrseq: emmc-pwrseq {
		compatible = "mmc-pwrseq-emmc";
		reset-gpios = <&gpio TEGRA_GPIO(CC, 0) GPIO_ACTIVE_LOW>;
		status = "disabled";
	};
};

&pinmux_default_state {
	sdmmc4_clk {
		nvidia,pins =	"sdmmc4_clk_pcc4",
				"sdmmc4_cmd_pt7";
		nvidia,function = "sdmmc4";
		nvidia,pull = <TEGRA_PIN_PULL_NONE>;
		nvidia,tristate = <TEGRA_PIN_DISABLE>;
		nvidia,enable-input = <TEGRA_PIN_ENABLE>;
	};
	sdmmc4_cmd {
		nvidia,pins =	"sdmmc4_dat0_paa0",
				"sdmmc4_dat1_paa1",
				"sdmmc4_dat2_paa2",
				"sdmmc4_dat3_paa3",
				"sdmmc4_dat4_paa4",
				"sdmmc4_dat5_paa5",
				"sdmmc4_dat6_paa6",
				"sdmmc4_dat7_paa7";
		nvidia,function = "sdmmc4";
		nvidia,pull = <TEGRA_PIN_PULL_UP>;
		nvidia,tristate = <TEGRA_PIN_DISABLE>;
		nvidia,enable-input = <TEGRA_PIN_ENABLE>;
	};
	sdmmc4_rst_n {
		nvidia,pins = "sdmmc4_rst_n_pcc3";
		nvidia,function = "vgp6";
		nvidia,pull = <TEGRA_PIN_PULL_DOWN>;
		nvidia,tristate = <TEGRA_PIN_DISABLE>;
		nvidia,enable-input = <TEGRA_PIN_DISABLE>;
	};
	cam_mclk_pcc0 {
		nvidia,pins = "cam_mclk_pcc0";
		nvidia,function = "vi_alt3";
		nvidia,pull = <TEGRA_PIN_PULL_UP>;
		nvidia,tristate = <TEGRA_PIN_DISABLE>;
		nvidia,enable-input = <TEGRA_PIN_DISABLE>;
	};
	sdmmc4_drive {
		nvidia,pins = "drive_gma", "drive_gmb", "drive_gmc", "drive_gmd";
		nvidia,pull-down-strength = <9>;
		nvidia,pull-up-strength = <9>;
		nvidia,slew-rate-rising = <TEGRA_PIN_SLEW_RATE_SLOWEST>;
		nvidia,slew-rate-falling = <TEGRA_PIN_SLEW_RATE_SLOWEST>;
	};
};

/* USB via ASUS connector */
&usb1 {
	compatible = "nvidia,tegra30-udc";
	status = "okay";
	dr_mode = "peripheral";
};

&phy1 {
	status = "okay";
	nvidia,hssync-start-delay = <0>;
	nvidia,xcvr-lsfslew = <2>;
	nvidia,xcvr-lsrslew = <2>;
};

/* Dock's USB port */
&usb3 {
	status = "okay";
};

&phy3 {
	status = "okay";
};

&pinmux_default_state {
	/* Pad buttons */
	pad_buttons {
		nvidia,pins =	"pv0"		/* power */,
				"kb_col2_pq2"	/* volup */,
				"kb_col3_pq3"	/* voldn */,
				"pu4"		/* dock detect */,
				"kb_row14_ps6"	/* hall sensor */,
				"spi2_cs1_n_pw2"/* hp-detect */,
				"gmi_ad12_ph4"	/* touch-irq */;
		nvidia,pull = <TEGRA_PIN_PULL_UP>;
		nvidia,tristate = <TEGRA_PIN_ENABLE>;
		nvidia,enable-input = <TEGRA_PIN_ENABLE>;
	};

	/* ECs' lines */
	ec_irqs {
		nvidia,pins =	"kb_row10_ps2"	/* pad */,
				"kb_row15_ps7"	/* dock */;
		nvidia,pull = <TEGRA_PIN_PULL_UP>;
		nvidia,tristate = <TEGRA_PIN_ENABLE>;
		nvidia,enable-input = <TEGRA_PIN_ENABLE>;
	};
	ec_reqs {
		nvidia,pins =	"kb_col1_pq1"	/* pad req */,
				"kb_col6_pq6"	/* dock req */;
		nvidia,pull = <TEGRA_PIN_PULL_UP>;
		nvidia,tristate = <TEGRA_PIN_DISABLE>;
		nvidia,enable-input = <TEGRA_PIN_DISABLE>;
	};

	/* sound */
	codec_irq {
		nvidia,pins = "spi2_cs2_n_pw3";
		nvidia,pull = <TEGRA_PIN_PULL_UP>;
		nvidia,tristate = <TEGRA_PIN_ENABLE>;
		nvidia,enable-input = <TEGRA_PIN_ENABLE>;
	};

	/* misc */
	blink {
		nvidia,pins = "clk_32k_out_pa0";
		nbidia,function = "blink";
		nvidia,pull = <TEGRA_PIN_PULL_NONE>;
		nvidia,tristate = <TEGRA_PIN_DISABLE>;
	};

	/* USB charging control */
	usb_charge_limit_out {
		nvidia,pins = "kb_row1_pr1";
		nvidia,pull = <TEGRA_PIN_PULL_UP>;
		nvidia,tristate = <TEGRA_PIN_DISABLE>;
		nvidia,enable-input = <TEGRA_PIN_DISABLE>;
	};

	/* HDMI hot-plug-detect */
	hdmi_hpd {
		nvidia,pins = "hdmi_int_pn7";
		nvidia,tristate = <TEGRA_PIN_ENABLE>;
		nvidia,enable-input = <TEGRA_PIN_ENABLE>;
	};

	/* bootstraps */
	bootstraps {
		// TODO?: set out,no-pull for non-mf and in,pull-down for mf id pins below
		nvidia,pins =
			/* Cardhu PCBID */
			"gmi_cs2_n_pk3",
			"gmi_cs1_n_pj2",
			"gmi_cs0_n_pj0",
			"kb_col5_pq5",
			"kb_row2_pr2",
			"kb_col7_pq7",
			"kb_col4_pq4",
			"kb_row5_pr5",
			"kb_row4_pr4",
			/* panel-type: panasonic [for TF700T] */
			"gmi_cs7_n_pi6",	//mf
			/* panel-type ID [for ME301T] */
			"gmi_a19_pk7",
			/* unused */
			"kb_row0_pr0",
			"gmi_a18_pb1";		//mf
		nvidia,tristate = <TEGRA_PIN_ENABLE>;
		nvidia,input-enable = <TEGRA_PIN_ENABLE>;
	};

	ext_bootstraps {
		nvidia,pins =
			/* Cardhu PCBID extension */
			"kb_row7_pr7",
			"gmi_a17_pb0",
			"gmi_a16_pj7",
			"gmi_wp_n_pc7",		//mf
			/* Cardhu ProjectID extension */
			"gmi_cs3_n_pk4",	//mf
			"gmi_wait_pi7",
			"gmi_cs6_n_pi3",
			"gmi_cs4_n_pk2";
		nvidia,tristate = <TEGRA_PIN_ENABLE>;
		nvidia,input-enable = <TEGRA_PIN_DISABLE>;
	};

	/* Memory type bootstrap */
	mem_boostraps {
		nvidia,pins = "gmi_ad4_pg4", "gmi_ad5_pg5";
		nvidia,tristate = <TEGRA_PIN_ENABLE>;
		nvidia,pull = <TEGRA_PIN_PULL_NONE>;
		nvidia,input-enable = <TEGRA_PIN_ENABLE>;
	};

	/* GPIO power/drive control */
	pin_drive {
		nvidia,pins =	"drive_at1"	/* PH0-7, PI5-6 */,
				"drive_at2"	/* PG0-7, PK0-4, PI0-4, PI7 */,
				"drive_at3"	/* PJ0, PC7 */,
				"drive_at4"	/* PB0-1, PK7, PJ2, PJ7 */,
				"drive_at5"	/* i2c2 */,
				"drive_ao1"	/* i2c5, PR0-7, PZ6-7 */,
				"drive_ao2"	/* clk_32k_in, PA0, core_pwr_req, cpu_pwr_req, PQ0-7, PS0-7, pwr_int_n, PZ5 */,
				"drive_dap1"	,
				"drive_dap2"	,
				"drive_dbg"	/* i2c1 */,
				"drive_ddc"	/* i2c4 */,
				"drive_gme"	/* i2c3 */,
				"drive_uart3"	/* bluetooth */;
		nvidia,high-speed-mode = <TEGRA_PIN_DISABLE>;
		nvidia,schmitt = <TEGRA_PIN_DISABLE>;
		nvidia,pull-down-strength = <31>;
		nvidia,pull-up-strength = <31>;
		nvidia,slew-rate-rising = <TEGRA_PIN_SLEW_RATE_FASTEST>;
		nvidia,slew-rate-falling = <TEGRA_PIN_SLEW_RATE_FASTEST>;
		nvidia,low-power-mode = <TEGRA_PIN_LP_DRIVE_DIV_1>;
	};

	/* I2C pins */
	i2c_pin_drive {
		nvidia,pins =	"drive_at5"	/* i2c2 */,
				"drive_ao1"	/* i2c5, PR0-7, PZ6-7 */,
				"drive_dap1"	,
				"drive_dap2"	,
				"drive_dbg"	/* i2c1 */,
				"drive_ddc"	/* i2c4 */,
				"drive_gme"	/* i2c3 */,
				"drive_uart3"	/* bluetooth */;
		nvidia,schmitt = <TEGRA_PIN_ENABLE>;
	};

	i2c_pins {
		nvidia,pins =	"gen1_i2c_scl_pc4",	/* i2c1 */
				"gen1_i2c_sda_pc5",
				"gen2_i2c_scl_pt5",	/* i2c2 */
				"gen2_i2c_sda_pt6",
				"cam_i2c_scl_pbb1",	/* i2c3 */
				"cam_i2c_sda_pbb2",
				"ddc_scl_pv4",		/* i2c4 */
				"ddc_sda_pv5",
				"pwr_i2c_scl_pz6",	/* i2c5 */
				"pwr_i2c_sda_pz7";
		nvidia,open-drain = <TEGRA_PIN_ENABLE>;
	};

	sound {
		nvidia,pins =	"dap2_fs_pa2",
				"dap2_sclk_pa3",
				"dap2_din_pa4",
				"dap2_dout_pa5";
		nvidia,function = "i2s1";
		nvidia,pull = <TEGRA_PIN_PULL_NONE>;
		nvidia,tristate = <TEGRA_PIN_DISABLE>;
	};

	cec_pins {
		nvidia,pins = "hdmi_cec_pee3";
		nvdia,function = "cec";
		nvidia,open-drain = <TEGRA_PIN_ENABLE>;
	};

	reg_od_enables {
		nvidia,pins =	"sdmmc3_dat4_pd1" /* reg */,
				"vi_d6_pl4" /* reg, out */;
//				"kb_row8_ps0" /* reg */,
//				"vi_pclk_pt0" /* reg */;

//		nvidia,open-drain = <TEGRA_PIN_ENABLE>;
		nvidia,pull = <TEGRA_PIN_PULL_UP>;
		nvidia,enable-input = <TEGRA_PIN_ENABLE>;
	};

	battery {
		nvidia,pins =	"lcd_cs0_n_pn4",
				"kb_row12_ps4",
				"kb_row13_ps5";
		nvidia,tristate = <TEGRA_PIN_ENABLE>;
		nvidia,enable-input = <TEGRA_PIN_ENABLE>;
	};

	/* unknown */

	unknowns_float {
		nvidia,pins =	"spi2_sck_px2" /* reg, in; non-TF300T */;
		nvidia,tristate = <TEGRA_PIN_ENABLE>;
		nvidia,enable-input = <TEGRA_PIN_ENABLE>;
	};

	unknowns_up {
		nvidia,pins =	"kb_row3_pr3",
				"kb_col0_pq0",
				"kb_row0_pr0",
				"gmi_rst_n_pi4";
		nvidia,pull = <TEGRA_PIN_PULL_UP>;
		nvidia,tristate = <TEGRA_PIN_ENABLE>;
		nvidia,enable-input = <TEGRA_PIN_ENABLE>;
	};
#if 0
	unknowns_down {
		nvidia,pins = "gmi_ad15_ph7";	// cardhu: vibra
		nvidia,pull = <TEGRA_PIN_PULL_DOWN>;
		nvidia,tristate = <TEGRA_PIN_ENABLE>;
		nvidia,enable-input = <TEGRA_PIN_ENABLE>;
	};
#endif
};
